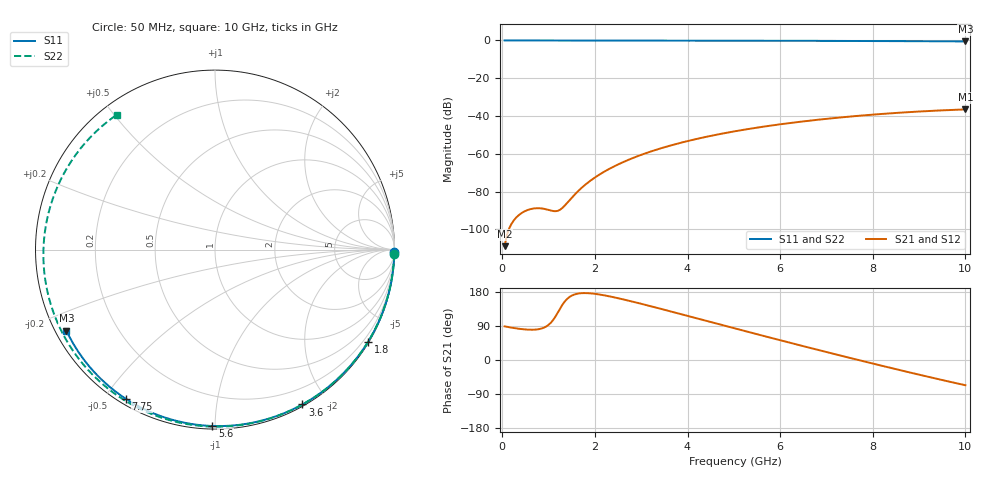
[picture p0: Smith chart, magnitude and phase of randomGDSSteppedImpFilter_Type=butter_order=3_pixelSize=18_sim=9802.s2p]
! freq	dB(S11)	phase(S11)	dB(S12)	phase(S12)
!  dB(S21)	phase(S21)	dB(S22)	phase(S22)
!S-par simulation data
#  GHz  S  DB  R 50
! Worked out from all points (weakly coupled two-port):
!   200 points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, 50 MHz to 10 GHz, reference 50 ohm
!   highest |S21| = -36.52 dB at 10 GHz (marker M1); lowest = -108.9 dB at 50 MHz (marker M2)
!   lowest |S11| = -0.5 dB at 10 GHz (marker M3), VSWR 34.00, Z = 1.57 - j12.7 ohm
!   |S11| at or under -10 dB: nowhere
!   |S22| runs from -0.6 to 0.0 dB; largest |S21 - S12| = 0
!   S11 on the Smith chart (normalised r, x): 50 MHz: open; 1.8 GHz: 0.03, -3.60; 3.6 GHz: 0.02, -1.71; 5.6 GHz: 0.02, -0.99; 7.75 GHz: 0.02, -0.57; 10 GHz: 0.03, -0.25
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0.05  -0.00 -0.8  -108.94 88.8  -108.94 88.8  -0.00 -1.3
0.8  -0.02 -13.9  -88.85 81.7  -88.85 81.7  -0.03 -21.0
1.6  -0.03 -27.7  -80.68 174.3  -80.68 174.3  -0.05 -41.5
1.65  -0.04 -28.5  -79.47 175.5  -79.47 175.5  -0.05 -42.7
1.75  -0.04 -30.2  -77.25 176.6  -77.25 176.6  -0.06 -45.2
1.8  -0.04 -31.1  -76.23 176.6  -76.23 176.6  -0.06 -46.5
2.1  -0.05 -36.1  -70.99 172.8  -70.99 172.8  -0.07 -53.9
2.45  -0.05 -41.9  -66.25 164.4  -66.25 164.4  -0.08 -62.4
2.9  -0.06 -49.3  -61.49 151.4  -61.49 151.4  -0.09 -73.2
3.4  -0.08 -57.4  -57.30 135.8  -57.30 135.8  -0.11 -84.8
3.6  -0.08 -60.6  -55.86 129.4  -55.86 129.4  -0.12 -89.3
4.3  -0.10 -71.5  -51.58 106.7  -51.58 106.7  -0.15 -104.9
5.05  -0.13 -82.8  -47.98 82.5  -47.98 82.5  -0.18 -121.2
5.6  -0.15 -90.8  -45.80 64.9  -45.80 64.9  -0.21 -132.9
6.15  -0.18 -98.7  -43.92 47.5  -43.92 47.5  -0.25 -144.5
6.7  -0.21 -106.5  -42.30 30.3  -42.30 30.3  -0.29 -156.1
7.25  -0.24 -114.1  -40.89 13.3  -40.89 13.3  -0.34 -167.9
7.75  -0.28 -120.9  -39.78 -1.9  -39.78 -1.9  -0.39 -178.9
8.35  -0.33 -129.0  -38.64 -19.8  -38.64 -19.8  -0.45 167.5
9.15  -0.41 -139.8  -37.43 -43.0  -37.43 -43.0  -0.54 148.2
9.55  -0.46 -145.2  -36.96 -54.3  -36.96 -54.3  -0.58 138.0
10  -0.51 -151.4  -36.52 -66.6  -36.52 -66.6  -0.64 126.0
